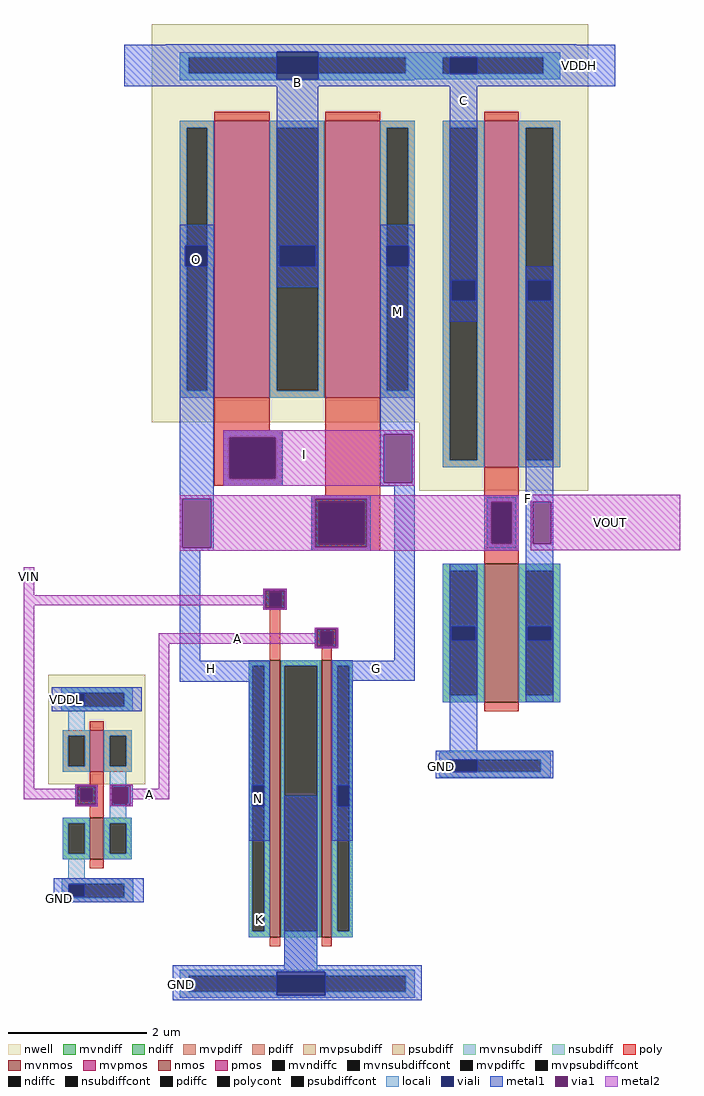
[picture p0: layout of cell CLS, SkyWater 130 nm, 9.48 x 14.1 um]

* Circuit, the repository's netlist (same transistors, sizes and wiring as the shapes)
* NGSPICE file created from CLS.ext - technology: sky130A

.subckt CLS VIN VDDH VOUT GND VDDL
X0 A VIN GND GND sky130_fd_pr__nfet_01v8 ad=0.246 pd=2.02 as=0.234 ps=1.98 w=0.6 l=0.2
X1 A VIN VDDL VDDL sky130_fd_pr__pfet_01v8 ad=0.246 pd=2.02 as=0.234 ps=1.98 w=0.6 l=0.2
X2 G H VDDH VDDH sky130_fd_pr__pfet_g5v0d10v5 ad=2 pd=9 as=1.6 ps=4.8 w=4 l=0.8
X3 VOUT H VDDH VDDH sky130_fd_pr__pfet_g5v0d10v5 ad=3 pd=11.2 as=3 ps=11.2 w=5 l=0.5
X4 G A GND GND sky130_fd_pr__nfet_01v8 ad=1.2 pd=8.6 as=1.2 ps=4.6 w=4 l=0.15
X5 VOUT H GND GND sky130_fd_pr__nfet_g5v0d10v5 ad=1.2 pd=5.2 as=1.2 ps=5.2 w=2 l=0.5
X6 GND VIN H GND sky130_fd_pr__nfet_01v8 ad=1.2 pd=4.6 as=1.2 ps=8.6 w=4 l=0.15
X7 VDDH G H VDDH sky130_fd_pr__pfet_g5v0d10v5 ad=1.6 pd=4.8 as=2 ps=9 w=4 l=0.8
.ends

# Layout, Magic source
magic
tech sky130A
<< nwell >>
rect -80 -655 550 -80
rect 306 -754 550 -655
rect -230 -1178 -90 -1020
<< nmos >>
rect -170 -1287 -150 -1227
rect 90 -1399 105 -999
rect 165 -1399 180 -999
<< pmos >>
rect -170 -1160 -150 -1100
<< mvnmos >>
rect 400 -1060 450 -860
<< mvpmos >>
rect 10 -620 90 -220
rect 170 -620 250 -220
rect 400 -720 450 -220
<< ndiff >>
rect 60 -1007 90 -999
rect -209 -1235 -170 -1227
rect -209 -1279 -201 -1235
rect -177 -1279 -170 -1235
rect -209 -1287 -170 -1279
rect -150 -1235 -109 -1227
rect -150 -1279 -141 -1235
rect -117 -1279 -109 -1235
rect -150 -1287 -109 -1279
rect 60 -1391 65 -1007
rect 82 -1391 90 -1007
rect 60 -1399 90 -1391
rect 105 -1007 165 -999
rect 105 -1391 111 -1007
rect 159 -1391 165 -1007
rect 105 -1399 165 -1391
rect 180 -1007 210 -999
rect 180 -1391 188 -1007
rect 205 -1391 210 -1007
rect 180 -1399 210 -1391
<< pdiff >>
rect -209 -1108 -170 -1100
rect -209 -1152 -201 -1108
rect -177 -1152 -170 -1108
rect -209 -1160 -170 -1152
rect -150 -1108 -109 -1100
rect -150 -1152 -141 -1108
rect -117 -1152 -109 -1108
rect -150 -1160 -109 -1152
<< mvndiff >>
rect 340 -870 400 -860
rect 340 -1050 350 -870
rect 390 -1050 400 -870
rect 340 -1060 400 -1050
rect 450 -870 510 -860
rect 450 -1050 460 -870
rect 500 -1050 510 -870
rect 450 -1060 510 -1050
<< mvpdiff >>
rect -40 -230 10 -220
rect -40 -610 -30 -230
rect 0 -610 10 -230
rect -40 -620 10 -610
rect 90 -230 170 -220
rect 90 -610 100 -230
rect 160 -610 170 -230
rect 90 -620 170 -610
rect 250 -230 300 -220
rect 250 -610 259 -230
rect 290 -610 300 -230
rect 250 -620 300 -610
rect 340 -230 400 -220
rect 340 -710 350 -230
rect 390 -710 400 -230
rect 340 -720 400 -710
rect 450 -230 510 -220
rect 450 -710 460 -230
rect 500 -710 510 -230
rect 450 -720 510 -710
<< ndiffc >>
rect -201 -1279 -177 -1235
rect -141 -1279 -117 -1235
rect 65 -1391 82 -1007
rect 111 -1391 159 -1007
rect 188 -1391 205 -1007
<< pdiffc >>
rect -201 -1152 -177 -1108
rect -141 -1152 -117 -1108
<< mvndiffc >>
rect 350 -1050 390 -870
rect 460 -1050 500 -870
<< mvpdiffc >>
rect -30 -610 0 -230
rect 100 -610 160 -230
rect 259 -610 290 -230
rect 350 -710 390 -230
rect 460 -710 500 -230
<< psubdiff >>
rect -210 -1322 -107 -1314
rect -210 -1342 -198 -1322
rect -120 -1342 -107 -1322
rect -210 -1349 -107 -1342
<< nsubdiff >>
rect -211 -1046 -108 -1038
rect -211 -1066 -198 -1046
rect -120 -1066 -108 -1046
rect -211 -1073 -108 -1066
<< mvpsubdiff >>
rect 335 -1143 496 -1132
rect 335 -1160 348 -1143
rect 482 -1160 496 -1143
rect 335 -1168 496 -1160
rect -40 -1455 300 -1446
rect -40 -1478 -27 -1455
rect 287 -1478 300 -1455
rect -40 -1487 300 -1478
<< mvnsubdiff >>
rect -40 -128 510 -121
rect -40 -151 -27 -128
rect 287 -151 340 -128
rect -40 -152 340 -151
rect 485 -152 510 -128
rect -40 -160 510 -152
rect -40 -161 299 -160
<< psubdiffcont >>
rect -198 -1342 -120 -1322
<< nsubdiffcont >>
rect -198 -1066 -120 -1046
<< mvpsubdiffcont >>
rect 348 -1160 482 -1143
rect -27 -1478 287 -1455
<< mvnsubdiffcont >>
rect -27 -151 287 -128
rect 340 -152 485 -128
<< poly >>
rect 10 -220 90 -207
rect 170 -220 250 -207
rect 400 -220 450 -207
rect 10 -667 90 -620
rect 10 -677 108 -667
rect 10 -737 32 -677
rect 98 -737 108 -677
rect 10 -747 108 -737
rect 170 -761 250 -620
rect 151 -771 250 -761
rect 151 -831 161 -771
rect 227 -831 250 -771
rect 151 -841 250 -831
rect 400 -770 450 -720
rect 400 -830 410 -770
rect 440 -830 450 -770
rect 400 -860 450 -830
rect 81 -901 115 -896
rect 81 -921 90 -901
rect 107 -921 115 -901
rect 81 -926 115 -921
rect 90 -999 105 -926
rect 155 -957 189 -952
rect 155 -977 164 -957
rect 181 -977 189 -957
rect 155 -982 189 -977
rect 165 -999 180 -982
rect -170 -1100 -150 -1087
rect -170 -1179 -150 -1160
rect -191 -1185 -150 -1179
rect -191 -1202 -183 -1185
rect -166 -1202 -150 -1185
rect -191 -1210 -150 -1202
rect -170 -1227 -150 -1210
rect -170 -1300 -150 -1287
rect 400 -1073 450 -1060
rect 90 -1412 105 -1399
rect 165 -1412 180 -1399
<< polycont >>
rect 32 -737 98 -677
rect 161 -831 227 -771
rect 410 -830 440 -770
rect 90 -921 107 -901
rect 164 -977 181 -957
rect -183 -1202 -166 -1185
<< locali >>
rect -40 -128 100 -121
rect 160 -128 510 -121
rect -40 -151 -27 -128
rect 287 -151 340 -128
rect -40 -161 100 -151
rect 160 -152 340 -151
rect 485 -152 510 -128
rect 160 -160 510 -152
rect 160 -161 299 -160
rect -40 -230 9 -220
rect -40 -400 -30 -230
rect -40 -430 -32 -400
rect -40 -610 -30 -430
rect 0 -610 9 -230
rect -40 -620 9 -610
rect 90 -230 169 -220
rect 90 -610 100 -230
rect 160 -610 169 -230
rect 90 -620 169 -610
rect 250 -230 300 -220
rect 250 -610 259 -230
rect 290 -400 300 -230
rect 291 -430 300 -400
rect 290 -610 300 -430
rect 250 -620 300 -610
rect 340 -230 400 -220
rect 23 -677 108 -667
rect 23 -737 32 -677
rect 98 -737 108 -677
rect 340 -710 350 -230
rect 390 -710 400 -230
rect 340 -720 400 -710
rect 450 -230 510 -220
rect 450 -710 460 -230
rect 500 -710 510 -230
rect 450 -720 510 -710
rect 23 -747 108 -737
rect 151 -771 236 -761
rect 151 -831 161 -771
rect 227 -831 236 -771
rect 151 -841 236 -831
rect 400 -770 450 -761
rect 400 -830 410 -770
rect 440 -830 450 -770
rect 400 -841 450 -830
rect 340 -870 400 -860
rect 81 -901 115 -896
rect 81 -921 90 -901
rect 107 -921 115 -901
rect 81 -926 115 -921
rect 155 -957 189 -952
rect 155 -977 164 -957
rect 181 -977 189 -957
rect 155 -982 189 -977
rect 60 -1007 90 -999
rect -211 -1046 -108 -1038
rect -211 -1047 -198 -1046
rect -211 -1065 -201 -1047
rect -211 -1066 -198 -1065
rect -120 -1066 -108 -1046
rect -211 -1073 -108 -1066
rect -201 -1100 -177 -1073
rect -209 -1108 -170 -1100
rect -209 -1152 -201 -1108
rect -177 -1152 -170 -1108
rect -209 -1160 -170 -1152
rect -150 -1108 -109 -1100
rect -150 -1152 -141 -1108
rect -117 -1152 -109 -1108
rect -150 -1160 -109 -1152
rect -191 -1185 -158 -1179
rect -191 -1202 -183 -1185
rect -166 -1202 -158 -1185
rect -191 -1210 -158 -1202
rect -141 -1183 -117 -1160
rect -141 -1206 -135 -1183
rect -141 -1227 -117 -1206
rect -209 -1235 -170 -1227
rect -209 -1279 -201 -1235
rect -177 -1279 -170 -1235
rect -209 -1287 -170 -1279
rect -150 -1235 -109 -1227
rect -150 -1279 -141 -1235
rect -117 -1279 -109 -1235
rect -150 -1287 -109 -1279
rect -201 -1314 -177 -1287
rect -210 -1322 -107 -1314
rect -210 -1323 -198 -1322
rect -210 -1341 -200 -1323
rect -210 -1342 -198 -1341
rect -120 -1342 -107 -1322
rect -210 -1349 -107 -1342
rect 60 -1391 65 -1007
rect 82 -1391 90 -1007
rect 60 -1399 90 -1391
rect 107 -1007 163 -999
rect 107 -1391 111 -1007
rect 159 -1391 163 -1007
rect 107 -1399 163 -1391
rect 180 -1007 210 -999
rect 180 -1391 188 -1007
rect 205 -1391 210 -1007
rect 340 -1050 350 -870
rect 390 -1050 400 -870
rect 340 -1060 400 -1050
rect 450 -870 510 -860
rect 450 -1050 460 -870
rect 500 -1050 510 -870
rect 450 -1060 510 -1050
rect 350 -1132 390 -1130
rect 335 -1143 496 -1132
rect 335 -1160 348 -1143
rect 482 -1160 496 -1143
rect 335 -1168 496 -1160
rect 180 -1399 210 -1391
rect 111 -1446 159 -1399
rect -40 -1449 300 -1446
rect -40 -1455 100 -1449
rect 170 -1455 300 -1449
rect -40 -1478 -27 -1455
rect 287 -1478 300 -1455
rect -40 -1483 100 -1478
rect 170 -1483 300 -1478
rect -40 -1487 300 -1483
<< viali >>
rect 100 -128 160 -120
rect 100 -151 160 -128
rect 100 -160 160 -151
rect 350 -152 390 -128
rect -32 -430 -30 -400
rect -30 -430 0 -400
rect 104 -430 156 -400
rect 259 -430 290 -400
rect 290 -430 291 -400
rect 32 -737 98 -677
rect 353 -480 387 -450
rect 463 -480 497 -450
rect 161 -831 227 -771
rect 410 -830 440 -770
rect 90 -921 107 -901
rect 164 -977 181 -957
rect -201 -1065 -198 -1047
rect -198 -1065 -177 -1047
rect -183 -1202 -166 -1185
rect -135 -1206 -114 -1183
rect -200 -1341 -198 -1323
rect -198 -1341 -178 -1323
rect 65 -1210 82 -1180
rect 188 -1210 205 -1180
rect 353 -970 387 -950
rect 463 -970 497 -950
rect 350 -1160 390 -1143
rect 100 -1455 170 -1449
rect 100 -1478 170 -1455
rect 100 -1483 170 -1478
<< metal1 >>
rect -60 -110 533 -109
rect -120 -120 589 -110
rect -120 -160 100 -120
rect 160 -128 589 -120
rect 160 -152 350 -128
rect 390 -152 589 -128
rect 160 -160 589 -152
rect -120 -170 589 -160
rect -40 -400 10 -370
rect -40 -430 -32 -400
rect 0 -430 10 -400
rect -40 -431 10 -430
rect 100 -400 160 -170
rect 100 -430 104 -400
rect 156 -430 160 -400
rect -40 -766 9 -431
rect 100 -460 160 -430
rect 250 -400 300 -370
rect 250 -430 259 -400
rect 291 -430 300 -400
rect 23 -677 109 -667
rect 23 -737 32 -677
rect 99 -737 109 -677
rect 23 -747 109 -737
rect 250 -673 300 -430
rect 350 -450 390 -170
rect 350 -480 353 -450
rect 387 -480 390 -450
rect 350 -510 390 -480
rect 460 -450 500 -430
rect 460 -480 463 -450
rect 497 -480 500 -450
rect 250 -743 255 -673
rect 296 -743 300 -673
rect 250 -748 300 -743
rect -40 -837 -36 -766
rect 6 -837 9 -766
rect -40 -841 9 -837
rect 150 -766 236 -761
rect 150 -836 156 -766
rect 230 -836 236 -766
rect 150 -841 236 -836
rect -40 -1000 -10 -841
rect 81 -898 115 -896
rect 81 -924 84 -898
rect 112 -924 115 -898
rect 81 -926 115 -924
rect 155 -954 189 -952
rect 155 -980 158 -954
rect 186 -980 189 -954
rect 155 -982 189 -980
rect 180 -1000 210 -999
rect 270 -1000 300 -748
rect 404 -770 446 -764
rect 404 -831 410 -770
rect 440 -831 446 -770
rect 404 -837 446 -831
rect 460 -770 500 -480
rect 460 -831 470 -770
rect 497 -831 500 -770
rect -40 -1030 90 -1000
rect -225 -1047 -95 -1038
rect -225 -1065 -201 -1047
rect -177 -1065 -95 -1047
rect -225 -1073 -95 -1065
rect -191 -1181 -158 -1179
rect -191 -1208 -188 -1181
rect -161 -1208 -158 -1181
rect -191 -1210 -158 -1208
rect -141 -1180 -108 -1179
rect -141 -1209 -138 -1180
rect -111 -1209 -108 -1180
rect -141 -1210 -108 -1209
rect 60 -1180 90 -1030
rect 60 -1210 65 -1180
rect 82 -1210 90 -1180
rect 180 -1029 300 -1000
rect 350 -950 390 -860
rect 350 -970 353 -950
rect 387 -970 390 -950
rect 180 -1180 210 -1029
rect 350 -1130 390 -970
rect 460 -950 500 -831
rect 460 -970 463 -950
rect 497 -970 500 -950
rect 460 -1060 500 -970
rect 330 -1143 500 -1130
rect 330 -1160 350 -1143
rect 390 -1160 500 -1143
rect 330 -1170 500 -1160
rect 60 -1260 90 -1210
rect -222 -1323 -92 -1314
rect -222 -1341 -200 -1323
rect -178 -1341 -92 -1323
rect -222 -1349 -92 -1341
rect 111 -1440 159 -1195
rect 180 -1210 188 -1180
rect 205 -1210 210 -1180
rect 180 -1260 210 -1210
rect -50 -1449 310 -1440
rect -50 -1483 100 -1449
rect 170 -1483 310 -1449
rect -50 -1490 310 -1483
<< via1 >>
rect 32 -737 98 -677
rect 98 -737 99 -677
rect 255 -743 296 -673
rect -36 -837 6 -766
rect 156 -771 230 -766
rect 156 -831 161 -771
rect 161 -831 227 -771
rect 227 -831 230 -771
rect 156 -836 230 -831
rect 84 -901 112 -898
rect 84 -921 90 -901
rect 90 -921 107 -901
rect 107 -921 112 -901
rect 84 -924 112 -921
rect 158 -957 186 -954
rect 158 -977 164 -957
rect 164 -977 181 -957
rect 181 -977 186 -957
rect 158 -980 186 -977
rect 410 -830 440 -770
rect 410 -831 440 -830
rect 470 -831 497 -770
rect -188 -1185 -161 -1181
rect -188 -1202 -183 -1185
rect -183 -1202 -166 -1185
rect -166 -1202 -161 -1185
rect -188 -1208 -161 -1202
rect -138 -1183 -111 -1180
rect -138 -1206 -135 -1183
rect -135 -1206 -114 -1183
rect -114 -1206 -111 -1183
rect -138 -1209 -111 -1206
<< metal2 >>
rect 23 -673 300 -667
rect 23 -677 255 -673
rect 23 -737 32 -677
rect 99 -737 255 -677
rect 23 -743 255 -737
rect 296 -743 300 -673
rect 23 -747 300 -743
rect -40 -766 450 -761
rect -40 -837 -36 -766
rect 6 -836 156 -766
rect 230 -770 450 -766
rect 230 -831 410 -770
rect 440 -831 450 -770
rect 230 -836 450 -831
rect 6 -837 450 -836
rect -40 -841 450 -837
rect 467 -770 683 -760
rect 467 -831 470 -770
rect 497 -831 683 -770
rect 467 -840 683 -831
rect -265 -905 -250 -865
rect 81 -898 115 -896
rect 81 -905 84 -898
rect -265 -920 84 -905
rect -265 -1185 -250 -920
rect 81 -924 84 -920
rect 112 -924 115 -898
rect 81 -926 115 -924
rect 155 -954 189 -952
rect 155 -960 158 -954
rect -70 -975 158 -960
rect -191 -1181 -158 -1179
rect -191 -1185 -188 -1181
rect -265 -1200 -188 -1185
rect -191 -1208 -188 -1200
rect -161 -1208 -158 -1181
rect -191 -1210 -158 -1208
rect -141 -1180 -108 -1179
rect -141 -1209 -138 -1180
rect -111 -1185 -108 -1180
rect -70 -1185 -55 -975
rect 155 -980 158 -975
rect 186 -980 189 -954
rect 155 -982 189 -980
rect -111 -1200 -55 -1185
rect -111 -1209 -108 -1200
rect -141 -1210 -108 -1209
<< labels >>
rlabel metal1 537 -140 537 -140 1 VDDH
port 2 n default bidirectional
rlabel metal1 -214 -1344 -214 -1344 1 GND
port 4 n default bidirectional
rlabel metal1 -37 -1468 -37 -1468 1 GND
port 4 n default bidirectional
rlabel metal1 338 -1153 338 -1153 1 GND
port 4 n default bidirectional
rlabel metal2 -111 -1200 -55 -1185 1 A
rlabel metal2 -70 -975 158 -960 1 A
rlabel metal2 -259 -889 -256 -868 1 VIN
port 1 n default input
rlabel metal1 460 -1060 467 -470 1 F
rlabel metal1 245 -1011 245 -1011 1 G
rlabel metal1 6 -1011 6 -1011 1 H
rlabel metal2 141 -702 141 -702 1 I
rlabel space 59 -1399 89 -999 1 N
rlabel nwell -40 -620 10 -220 1 O
rlabel metal2 570 -803 594 -797 1 VOUT
port 3 n default output
rlabel metal2 609 -796 609 -796 1 VOUT
port 3 n default output
rlabel metal1 -205 -1058 -202 -1054 1 VDDL
port 5 n
rlabel metal1 250 -620 300 -370 1 M
rlabel metal1 100 -170 160 -160 1 B
rlabel metal1 350 -230 390 -152 1 C
rlabel metal1 60 -1399 90 -1349 1 K
<< end >>
